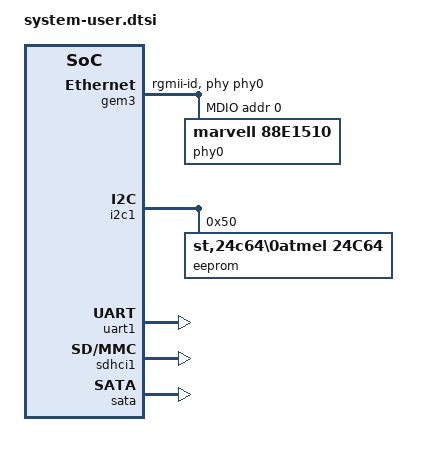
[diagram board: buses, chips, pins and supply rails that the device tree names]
/* Delecte the automatically created PL device tree entries */
/delete-node/ &amba_pl;

/ {
	aliases {
		serial0 = "/axi/serial@ff000000";
		serial1 = "/axi/serial@ff010000";
	};
	
	chosen {
		/* Bootargs for SD boot. The bootargs for PXE boot are fetched from the PXE config file on the TFTP server. */
		bootargs = " earlycon clk_ignore_unused root=/dev/mmcblk1p2 rw rootwait uio_pdrv_genirq.of_id=generic-uio";
		xlnx,eeprom = &eeprom;
	};

	/* Create empty amba_pl node */
	amba_pl: amba_pl@0 {
		#address-cells = <2>;
		#size-cells = <2>;
		compatible = "simple-bus";
		ranges ;
	};
};

&gem3 { /* required by spec */
	#address-cells = <1>;
	#size-cells = <0>;
	status = "okay";
	phy-handle = <&phy0>;
	phy-mode = "rgmii-id";
	/*local-mac-address = [00 0A 35 0D 63 69];*/

	mdio: mdio {
		#address-cells = <1>;
		#size-cells = <0>;

		phy0: ethernet-phy@0 {
			compatible = "marvell,88e1510";
			device_type = "ethernet-phy";
			reg = <0x0>;
		};

	};
};

&i2c1 {
	eeprom: eeprom@50 {
		compatible = "st,24c64\0atmel,24c64";
		reg = <0x50>;
	};
};

&uart1 {
	status = "okay";
};

&sdhci1 {
	no-1-8-v;
	disable-wp;
	status = "okay";
};

&sata {
	#stream-id-cells = <0x04>;
	ceva,p0-burst-params = /bits/ 8 <0x13 0x08 0x4A 0x06>;
	ceva,p0-cominit-params = /bits/ 8 <0x18 0x40 0x18 0x28>;
	ceva,p0-comwake-params = /bits/ 8 <0x06 0x14 0x08 0x0E>;
	ceva,p0-retry-params = /bits/ 16 <0x96A4 0x3FFC>;
	ceva,p1-burst-params = /bits/ 8 <0x13 0x08 0x4A 0x06>;
	ceva,p1-cominit-params = /bits/ 8 <0x1B 0x4D 0x18 0x28>;
	ceva,p1-comwake-params = /bits/ 8 <0x06 0x19 0x08 0x0E>;
	ceva,p1-retry-params = /bits/ 16 <0x96A4 0x3FFC>;
	status = "okay";
};
